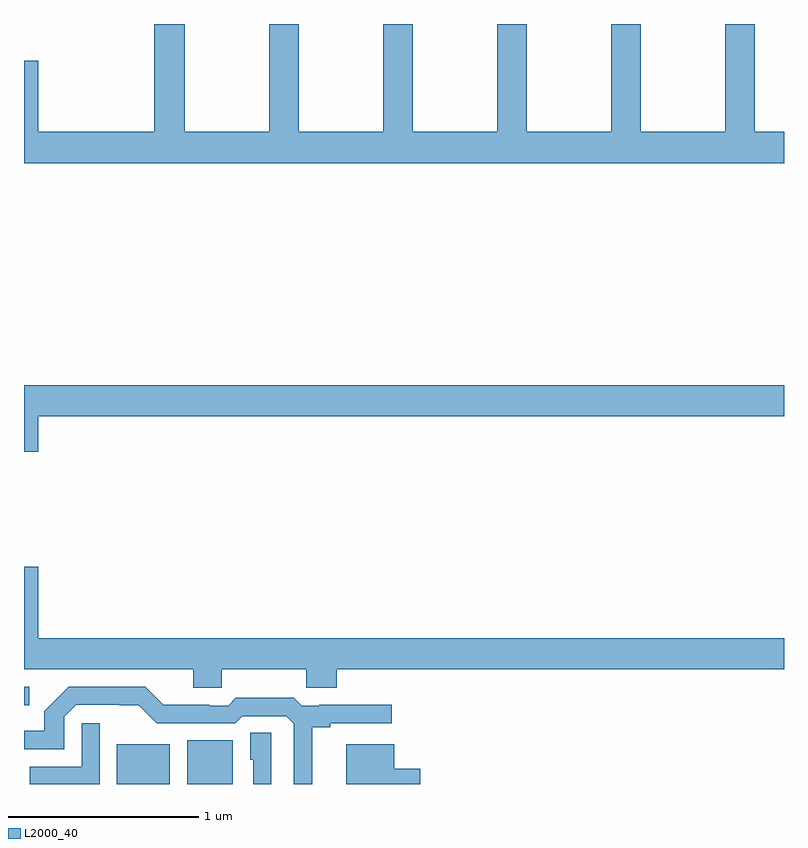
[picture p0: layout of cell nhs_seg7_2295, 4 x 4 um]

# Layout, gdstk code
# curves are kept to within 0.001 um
import gdstk
lib = gdstk.Library(unit=1e-6, precision=1e-09)
def R(c, l, rs):  # rectangles x0, y0, x1, y1
    for r in rs: c.add(gdstk.rectangle(r[:2], r[2:], *l))
def P(c, l, *ps):  # polygons
    for p in ps: c.add(gdstk.Polygon(p, *l))
L2000_40 = (2000, 40)

nhs_seg7_2295 = lib.new_cell('nhs_seg7_2295')
R(nhs_seg7_2295, L2000_40, [(261.488,1012,261.766,1012.21), (261.86,1012,262.099,1012.231), (261,1012.415,261.028,1012.512)])
P(nhs_seg7_2295, L2000_40, [(265,1015.432),(264.846,1015.432),(264.846,1016),(264.691,1016),(264.691,1015.432),(264.246,1015.432),(264.246,1016),(264.091,1016),(264.091,1015.432),(263.646,1015.432),(263.646,1016),(263.491,1016),(263.491,1015.432),(263.046,1015.432),(263.046,1016),(262.891,1016),(262.891,1015.432),(262.446,1015.432),(262.446,1016),(262.291,1016),(262.291,1015.432),(261.846,1015.432),(261.846,1016),(261.686,1016),(261.686,1015.432),(261.076,1015.432),(261.076,1015.807),(261,1015.807),(261,1015.268),(265,1015.268)],
  [(261.076,1013.936),(265,1013.936),(265,1014.1),(261,1014.1),(261,1013.748),(261.076,1013.748)],
  [(262.041,1012.604),(262.486,1012.604),(262.486,1012.506),(262.646,1012.506),(262.646,1012.604),(265,1012.604),(265,1012.768),(261.076,1012.768),(261.076,1013.143),(261,1013.143),(261,1012.604),(261.89,1012.604),(261.89,1012.506),(262.041,1012.506)],
  [(262.517,1012.298),(262.612,1012.298),(262.612,1012.32),(262.936,1012.32),(262.936,1012.418),(262.555,1012.418),(262.555,1012.413),(262.461,1012.413),(262.421,1012.453),(262.114,1012.453),(262.074,1012.413),(261.974,1012.413),(261.974,1012.418),(261.734,1012.418),(261.639,1012.512),(261.236,1012.512),(261.106,1012.382),(261.106,1012.279),(261,1012.279),(261,1012.182),(261.213,1012.182),(261.213,1012.353),(261.276,1012.416),(261.605,1012.415),(261.699,1012.32),(262.113,1012.32),(262.149,1012.356),(262.38,1012.356),(262.419,1012.317),(262.419,1012),(262.517,1012)],
  [(261.399,1012.321),(261.303,1012.321),(261.303,1012.092),(261.03,1012.092),(261.03,1012),(261.399,1012)],
  [(262.302,1012.271),(262.19,1012.271),(262.19,1012.128),(262.206,1012.128),(262.206,1012),(262.302,1012)],
  [(263.086,1012.081),(262.948,1012.081),(262.948,1012.21),(262.697,1012.21),(262.697,1012),(263.086,1012)])

lib.write_gds('nhs_seg7_2295.gds')
